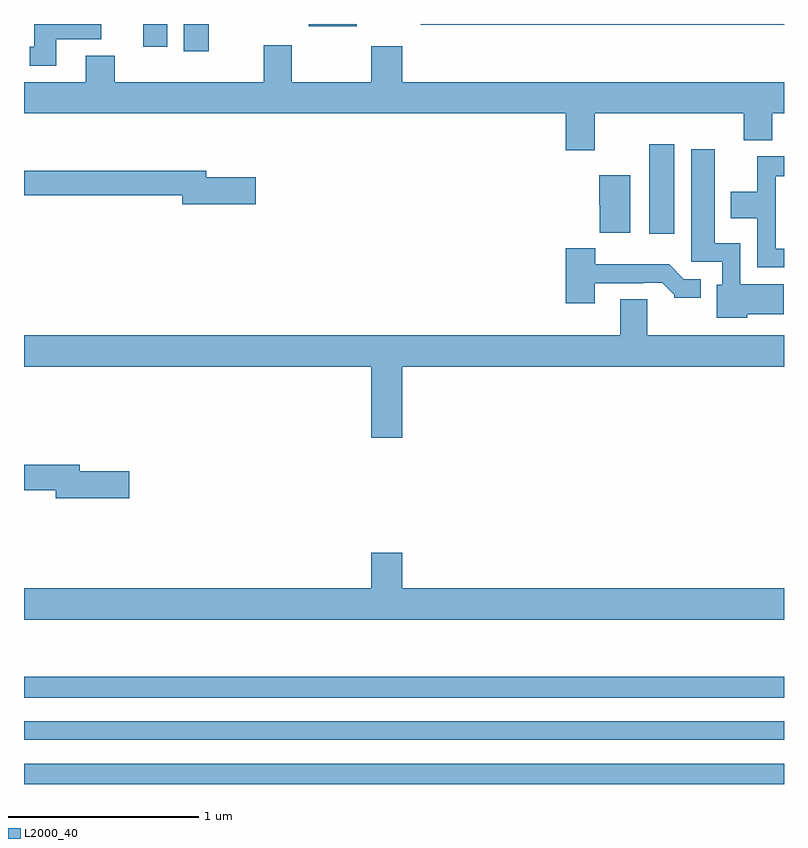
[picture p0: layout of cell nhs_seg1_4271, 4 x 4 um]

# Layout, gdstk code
import gdstk
lib = gdstk.Library(unit=1e-6, precision=1e-09)
def R(c, l, rs):  # rectangles x0, y0, x1, y1
    for r in rs: c.add(gdstk.rectangle(r[:2], r[2:], *l))
def P(c, l, *ps):  # polygons
    for p in ps: c.add(gdstk.Polygon(p, *l))
L2000_40 = (2000, 40)

nhs_seg1_4271 = lib.new_cell('nhs_seg1_4271')
R(nhs_seg1_4271, L2000_40, [(343,552.199,347,552.306), (343,552.432,347,552.528), (343,552.654,347,552.763), (346.292,555.096,346.423,555.565), (343.841,556.056,343.972,556.199), (343.628,556.08,343.753,556.199), (344.498,556.186,344.752,556.199), (345.088,556.194,347,556.199)])
P(nhs_seg1_4271, L2000_40, [(343.171,556.118),(343.407,556.118),(343.407,556.199),(343.055,556.199),(343.055,556.08),(343.031,556.08),(343.031,555.978),(343.171,555.978)],
  [(346.003,555.728),(346.787,555.728),(346.787,555.587),(346.939,555.587),(346.939,555.728),(347,555.728),(347,555.892),(344.992,555.892),(344.992,556.081),(344.828,556.081),(344.828,555.892),(344.409,555.892),(344.409,556.087),(344.261,556.087),(344.261,555.892),(343.478,555.892),(343.478,556.033),(343.325,556.033),(343.325,555.892),(343,555.892),(343,555.728),(345.851,555.728),(345.851,555.534),(346.003,555.534)],
  [(346.806,554.672),(346.999,554.672),(346.999,554.83),(346.77,554.83),(346.77,555.046),(346.636,555.046),(346.636,555.541),(346.511,555.541),(346.511,554.949),(346.674,554.949),(346.674,554.826),(346.646,554.826),(346.646,554.654),(346.806,554.654)],
  [(347,555.015),(346.956,555.015),(346.956,555.398),(347,555.398),(347,555.502),(346.858,555.502),(346.858,555.316),(346.721,555.316),(346.721,555.176),(346.86,555.176),(346.86,554.919),(347,554.919)],
  [(344.221,555.393),(343.96,555.393),(343.96,555.427),(343,555.427),(343,555.298),(343.832,555.298),(343.832,555.251),(344.221,555.251)],
  [(346.192,555.403),(346.028,555.403),(346.028,555.249),(346.03,555.249),(346.03,555.101),(346.192,555.101)],
  [(346.003,554.835),(346.259,554.835),(346.259,554.838),(346.358,554.838),(346.422,554.774),(346.422,554.759),(346.561,554.759),(346.561,554.856),(346.473,554.856),(346.395,554.935),(346.006,554.935),(346.006,555.019),(345.851,555.019),(345.851,554.73),(346.003,554.73)],
  [(344.992,554.396),(347,554.396),(347,554.56),(346.279,554.56),(346.279,554.75),(346.139,554.75),(346.139,554.56),(343,554.56),(343,554.396),(344.828,554.396),(344.828,554.022),(344.992,554.022)],
  [(343.555,553.844),(343.294,553.844),(343.294,553.88),(343,553.88),(343,553.744),(343.166,553.744),(343.166,553.702),(343.555,553.702)],
  [(347,553.228),(344.992,553.228),(344.992,553.417),(344.828,553.417),(344.828,553.228),(343,553.228),(343,553.064),(347,553.064)])

lib.write_gds('nhs_seg1_4271.gds')
